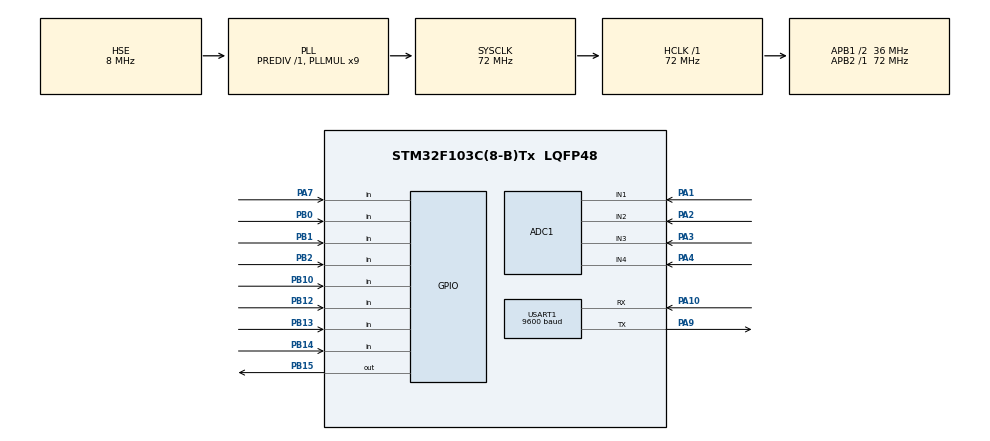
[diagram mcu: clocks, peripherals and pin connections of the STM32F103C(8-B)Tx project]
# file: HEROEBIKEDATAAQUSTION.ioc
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ADC1.Channel-0\#ChannelRegularConversion=ADC_CHANNEL_1
ADC1.Channel-4\#ChannelRegularConversion=ADC_CHANNEL_2
ADC1.Channel-5\#ChannelRegularConversion=ADC_CHANNEL_3
ADC1.Channel-6\#ChannelRegularConversion=ADC_CHANNEL_4
ADC1.ContinuousConvMode=ENABLE
ADC1.NbrOfConversion=4
ADC1.NbrOfConversionFlag=1
ADC1.Rank-4\#ChannelRegularConversion=2
ADC1.Rank-5\#ChannelRegularConversion=3
ADC1.Rank-6\#ChannelRegularConversion=4
ADC1.SamplingTime-4\#ChannelRegularConversion=ADC_SAMPLETIME_1CYCLE_5
ADC1.SamplingTime-5\#ChannelRegularConversion=ADC_SAMPLETIME_1CYCLE_5
ADC1.SamplingTime-6\#ChannelRegularConversion=ADC_SAMPLETIME_1CYCLE_5
ADC1.master=1
Mcu.Family=STM32F1
Mcu.Name=STM32F103C(8-B)Tx
Mcu.Package=LQFP48
NVIC.ADC1_2_IRQn=true\:0\:0\:false\:false\:true\:true\:true\:true
NVIC.PriorityGroup=NVIC_PRIORITYGROUP_4
PA1.Signal=ADCx_IN1
PA10.Mode=Asynchronous
PA10.Signal=USART1_RX
PA13.Mode=Serial_Wire
PA13.Signal=SYS_JTMS-SWDIO
PA14.Mode=Serial_Wire
PA14.Signal=SYS_JTCK-SWCLK
PA2.Signal=ADCx_IN2
PA3.Signal=ADCx_IN3
PA4.Signal=ADCx_IN4
PA7.Signal=GPIO_Input
PA9.Mode=Asynchronous
PA9.Signal=USART1_TX
PB0.Signal=GPIO_Input
PB1.Signal=GPIO_Input
PB10.Signal=GPIO_Input
PB12.Signal=GPIO_Input
PB13.Signal=GPIO_Input
PB14.Signal=GPIO_Input
PB15.Signal=GPIO_Output
PB2.Signal=GPIO_Input
PD0-OSC_IN.Mode=HSE-External-Oscillator
PD0-OSC_IN.Signal=RCC_OSC_IN
PD1-OSC_OUT.Mode=HSE-External-Oscillator
PD1-OSC_OUT.Signal=RCC_OSC_OUT
ProjectManager.HeapSize=0x200
ProjectManager.StackSize=0x400
ProjectManager.TargetToolchain=STM32CubeIDE
RCC.ADCPresc=RCC_ADCPCLK2_DIV6
RCC.AHBFreq_Value=72000000
RCC.APB1CLKDivider=RCC_HCLK_DIV2
RCC.APB1Freq_Value=36000000
RCC.APB1TimFreq_Value=72000000
RCC.APB2Freq_Value=72000000
RCC.APB2TimFreq_Value=72000000
RCC.HCLKFreq_Value=72000000
RCC.PLLMUL=RCC_PLL_MUL9
RCC.PLLSourceVirtual=RCC_PLLSOURCE_HSE
RCC.SYSCLKFreq_VALUE=72000000
RCC.SYSCLKSource=RCC_SYSCLKSOURCE_PLLCLK
RCC.USBFreq_Value=72000000
SH.ADCx_IN1.0=ADC1_IN1,IN1
SH.ADCx_IN2.0=ADC1_IN2,IN2
SH.ADCx_IN3.0=ADC1_IN3,IN3
SH.ADCx_IN4.0=ADC1_IN4,IN4
USART1.BaudRate=9600
USART1.VirtualMode=VM_ASYNC
board=custom

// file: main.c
/* USER CODE BEGIN Header */
/**
  ******************************************************************************
  * @file           : main.c
  * @brief          : Main program body
  ******************************************************************************
  * @attention
  *
  * Copyright (c) 2023 STMicroelectronics.
  * All rights reserved.
  *
  * This software is licensed under terms that can be found in the LICENSE file
  * in the root directory of this software component.
  * If no LICENSE file comes with this software, it is provided AS-IS.
  *
  ******************************************************************************
  */
/* USER CODE END Header */
#include "main.h"
#include <string.h>
#include <math.h>
#include <stdio.h>
#define BAUD_RATE 9600

ADC_HandleTypeDef hadc1;

UART_HandleTypeDef huart1;

/* USER CODE BEGIN PV */
//uint8_t data[2000];
float raw;
float Iraw;
float Sraw;
float Traw;
float km;
float contemp;
float I;
float b = 3977;
				  	float rto = 1000;
				  							float vcc = 5;
				  							float R = 1000;
				  							float T0 = 15+273.15;
				  							float VRT,VR,RT,ln,TX;

				  							const float SHUNT_CURRENT =100.00;//A
				  							const float SHUNT_VOLTAGE =75.0;// mV
				  							const float CORRECTION_FACTOR = 2.00;

				  							const int ITERATION = 30; //can change (see video)
				  							const float VOLTAGE_REFERENCE = 1200.0;//1.1V
				  							const int BIT_RESOLUTION =12;
				  							float vac;
				  				     		float vc;
				  						    float rphr;
				  						    float rpm;
				  						    int i;
				  						    int j;
				  						    int k;
				  						    int l;
				  						    int m;
				  						    int n;
				  						    int o;
/* USER CODE END PV */

void SystemClock_Config(void);
static void MX_GPIO_Init(void);
static void MX_ADC1_Init(void);

static void MX_USART1_UART_Init(void);
/* USER CODE BEGIN PFP */

void ADC_Select_CH0(void){
	ADC_ChannelConfTypeDef sConfig = {0};
	sConfig.Channel = ADC_CHANNEL_1;
	  sConfig.Rank = ADC_REGULAR_RANK_1;
	  sConfig.SamplingTime = ADC_SAMPLETIME_7CYCLES_5;
	  if (HAL_ADC_ConfigChannel(&hadc1, &sConfig) != HAL_OK)
	  {
	    Error_Handler();
	  }

}
void ADC_Select_CH1(void){
	ADC_ChannelConfTypeDef sConfig = {0};
	sConfig.Channel = ADC_CHANNEL_2;
	  sConfig.Rank = ADC_REGULAR_RANK_1;
	  sConfig.SamplingTime = ADC_SAMPLETIME_7CYCLES_5;
	  if (HAL_ADC_ConfigChannel(&hadc1, &sConfig) != HAL_OK)
	  {
	    Error_Handler();
	  }

}
void ADC_Select_CH2(void){
	ADC_ChannelConfTypeDef sConfig = {0};
	sConfig.Channel = ADC_CHANNEL_3;
	  sConfig.Rank = ADC_REGULAR_RANK_1;
	  sConfig.SamplingTime = ADC_SAMPLETIME_7CYCLES_5;
	  if (HAL_ADC_ConfigChannel(&hadc1, &sConfig) != HAL_OK)
	  {
	    Error_Handler();
	  }

}
void ADC_Select_CH3(void){
	ADC_ChannelConfTypeDef sConfig = {0};
	sConfig.Channel = ADC_CHANNEL_4;
	  sConfig.Rank = ADC_REGULAR_RANK_1;
	  sConfig.SamplingTime = ADC_SAMPLETIME_7CYCLES_5;
	  if (HAL_ADC_ConfigChannel(&hadc1, &sConfig) != HAL_OK)
	  {
	    Error_Handler();
	  }

}
uint16_t ADC_VAL[4];
void initUART(void)
{
  huart1.Instance = USART1;
  huart1.Init.BaudRate = BAUD_RATE;
  huart1.Init.WordLength = UART_WORDLENGTH_8B;
  huart1.Init.StopBits = UART_STOPBITS_1;
  huart1.Init.Parity = UART_PARITY_NONE;
  huart1.Init.Mode = UART_MODE_TX_RX;
  huart1.Init.HwFlowCtl = UART_HWCONTROL_NONE;
  huart1.Init.OverSampling = UART_OVERSAMPLING_16;
  HAL_UART_Init(&huart1);
}
/* USER CODE END PFP */

int main(void)
{
  /* USER CODE BEGIN 1 */

				  //char msg[10];
				  char uart_buf[100];
				  	int uart_buf_len;
				  	//const int resistorValue = 10000;

  /* USER CODE END 1 */

  /* MCU Configuration--------------------------------------------------------*/

  /* Reset of all peripherals, Initializes the Flash interface and the Systick. */
  HAL_Init();

  /* Configure the system clock */
  SystemClock_Config();

  /* Initialize all configured peripherals */
  MX_GPIO_Init();
  MX_ADC1_Init();
  MX_USART1_UART_Init();

  /* Infinite loop */
  while (1)
  {
	  ADC_Select_CH0();
	  HAL_ADC_Start(&hadc1);
	  HAL_ADC_PollForConversion(&hadc1, 1000);
	  raw = HAL_ADC_GetValue(&hadc1);
	  float vin;
	  	 	  float r1,r2,r3,r4;
	  	 	  vin = (raw*3.3)/4095;

	  	 	  	   	 		 	  	   r1=68;
	  	 	  	   	 		 	  	   r2=3.3;
	  	 	  	   	 		 	  	   vac=((r2+r1)/r2)*vin;
	  	 	  	   	 		 	//data[1] = vac;

	  HAL_ADC_Stop(&hadc1);
	 // HAL_Delay(500);
	  ADC_Select_CH1();
	  HAL_ADC_Start(&hadc1);
	  HAL_ADC_PollForConversion(&hadc1, 1000);
	  Iraw = HAL_ADC_GetValue(&hadc1);

	  	 	  	    int sensorValue ;
	  	 	  	    float voltage, current;

	  	 	  	      sensorValue =  Iraw ;

	  	 	  	        voltage = (sensorValue +0.5) * (VOLTAGE_REFERENCE /  (pow(2,BIT_RESOLUTION)-1));
	  	 	  	        current  = voltage * (SHUNT_CURRENT /SHUNT_VOLTAGE )  ;

	  	 	  	   //IGNORE_CURRENT_BELOW
	  	 	  	    I=current;
	  	 	  	//data[2] = I;
	  	 	  	HAL_ADC_Stop(&hadc1);
	  //HAL_Delay(500);
	  ADC_Select_CH2();
	  HAL_ADC_Start(&hadc1);
	  HAL_ADC_PollForConversion(&hadc1, 1000);
	  Sraw = HAL_ADC_GetValue(&hadc1);
	  vin =(Sraw*3.3)/4095;
	  	 	  		   	 		 	  	   r3=51;
	  	 	  		   	 		 	  	   r4=4.7;
	  	 	  		   	 		 	  	   vc=((r4+r3)/r4)*vin;
	  	 	  		   	 		 	  	   rpm = (vc/39)*652;
	  	 	  		   	 		 	  	   rphr = rpm*60;
	  	 	  		   	 		 	  	   km=0.001356*rphr;
	  	 	  		   	 		 	//data[3] = km;
	  HAL_ADC_Stop(&hadc1);
	  //HAL_Delay(500);
	  ADC_Select_CH3();
	  HAL_ADC_Start(&hadc1);
	  HAL_ADC_PollForConversion(&hadc1, 1000);
	  Traw = HAL_ADC_GetValue(&hadc1);
	  VRT = (3.33 / 1024) *Traw;      //Conversion to voltage
	  	 		  	 	 	  		  		   	 		 	  	 	 	  VR = vcc - VRT;
	  	 		  	 	 	  		  		   	 		 	  	 	 	  RT = VRT / (VR / R);               //Resistance of RT

	  	 		  	 	 	  		  		   	 		 	  	 	 	  ln = log(RT / rto);
	  	 		  	 	 	  		  		   	 		 	  	 	 	  TX = (1 / ((ln / b) + (1 / T0))); //Temperature from thermistor

	  	 		  	 	 	  		  		   	 		 	 contemp = TX - 273.15;
	  	 		  	 	 	  		  		   	//data[4] = contemp;

	  HAL_ADC_Stop(&hadc1);
	 // HAL_Delay(500);
	  if(HAL_GPIO_ReadPin (GPIOA, GPIO_PIN_7))  { //Check if button pressed

	 	  		 i = 1;

	 	  	  }//If pressed Led Switch On
	 	  	  	else{

	 	  	  	 i = 0;

	 	  	  	}
	  if(HAL_GPIO_ReadPin (GPIOB, GPIO_PIN_0))  { //Check if button pressed

	  	  		  		 j = 1;

	  	  		  	  }//If pressed Led Switch On
	  	  		  	  	else{

	  	  		  	  	 j = 0;

	  	  		  	  	}
	  if(HAL_GPIO_ReadPin (GPIOB, GPIO_PIN_1))  { //Check if button pressed

		  		  		  	 k = 1;

		  		  		  	  }//If pressed Led Switch On
		  		  		  	  	else{

		  		  		  	 k = 0;
		  		  		  	  	}
	  if(HAL_GPIO_ReadPin (GPIOB, GPIO_PIN_2))  { //Check if button pressed

	  	  		  		 	  	l = 1;

	  	  		  		 	  	  }//If pressed Led Switch On
	  	  		  		 	  	  	else{

	  	  		  		 	  	 l = 0;

	  	  		  		 	  	  	}
	  if(HAL_GPIO_ReadPin (GPIOB, GPIO_PIN_12))  { //Check if button pressed

	  	  		  		 		  	 m = 1;

	  	  		  		 		  	  }//If pressed Led Switch On
	  	  		  		 		  	  	else{

	  	  		  		 		  	 m = 0;

	  	  		  		 		  	  	}
	  if(HAL_GPIO_ReadPin (GPIOB, GPIO_PIN_13))  { //Check if button pressed

	  	  	  		  		 		  	 n = 1;

	  	  	  		  		 		  	  }//If pressed Led Switch On
	  	  	  		  		 		  	  	else{

	  	  	  		  		 		  	 n = 0;

	  	  	  		  		 		  	  	}
	  if(HAL_GPIO_ReadPin (GPIOB, GPIO_PIN_14))  { //Check if button pressed

	  	  	  		  		 		  	 o = 1;

	  	  	  		  		 		  	  }//If pressed Led Switch On
	  	  	  		  		 		  	  	else{

	  	  	  		  		 		  	 o = 0;

	  	  	  		  		 		  	  	}

		  		  		 		// HAL_UART_Transmit (&huart1, data, sizeof (data), 1000);

	 		  	 	 	  		  		   		uart_buf_len = sprintf(uart_buf,"{\"voltage\":%d,\"current\":%d,\"speed\":%d,\"temp\":%d,\"i\":%d,\"j\":%d,\"k\":%d,\"l\":%d,\"m\":%d,\"n\":%d,\"o\":%d}",(int)vac,(int)I,(int) km,(int)contemp,(int)i,(int)j,(int)k,(int)l,(int)m,(int)n,(int)o);

	 		  	 	 	  		  		   		 HAL_UART_Transmit(&huart1, (uint8_t *)uart_buf,uart_buf_len, 1000);
	 		  	 	 	  		  		 HAL_Delay(1000);
  }
}

void SystemClock_Config(void)
{
  RCC_OscInitTypeDef RCC_OscInitStruct = {0};
  RCC_ClkInitTypeDef RCC_ClkInitStruct = {0};
  RCC_PeriphCLKInitTypeDef PeriphClkInit = {0};

  /** Initializes the RCC Oscillators according to the specified parameters
  * in the RCC_OscInitTypeDef structure.
  */
  RCC_OscInitStruct.OscillatorType = RCC_OSCILLATORTYPE_HSE;
  RCC_OscInitStruct.HSEState = RCC_HSE_ON;
  RCC_OscInitStruct.HSEPredivValue = RCC_HSE_PREDIV_DIV1;
  RCC_OscInitStruct.HSIState = RCC_HSI_ON;
  RCC_OscInitStruct.PLL.PLLState = RCC_PLL_ON;
  RCC_OscInitStruct.PLL.PLLSource = RCC_PLLSOURCE_HSE;
  RCC_OscInitStruct.PLL.PLLMUL = RCC_PLL_MUL9;
  if (HAL_RCC_OscConfig(&RCC_OscInitStruct) != HAL_OK)
  {
    Error_Handler();
  }

  /** Initializes the CPU, AHB and APB buses clocks
  */
  RCC_ClkInitStruct.ClockType = RCC_CLOCKTYPE_HCLK|RCC_CLOCKTYPE_SYSCLK
                              |RCC_CLOCKTYPE_PCLK1|RCC_CLOCKTYPE_PCLK2;
  RCC_ClkInitStruct.SYSCLKSource = RCC_SYSCLKSOURCE_PLLCLK;
  RCC_ClkInitStruct.AHBCLKDivider = RCC_SYSCLK_DIV1;
  RCC_ClkInitStruct.APB1CLKDivider = RCC_HCLK_DIV2;
  RCC_ClkInitStruct.APB2CLKDivider = RCC_HCLK_DIV1;

  if (HAL_RCC_ClockConfig(&RCC_ClkInitStruct, FLASH_LATENCY_2) != HAL_OK)
  {
    Error_Handler();
  }
  PeriphClkInit.PeriphClockSelection = RCC_PERIPHCLK_ADC;
  PeriphClkInit.AdcClockSelection = RCC_ADCPCLK2_DIV6;
  if (HAL_RCCEx_PeriphCLKConfig(&PeriphClkInit) != HAL_OK)
  {
    Error_Handler();
  }
}

static void MX_ADC1_Init(void)
{

  ADC_ChannelConfTypeDef sConfig = {0};

  /** Common config
  */
  hadc1.Instance = ADC1;
  hadc1.Init.ScanConvMode = ADC_SCAN_ENABLE;
  hadc1.Init.ContinuousConvMode = ENABLE;
  hadc1.Init.DiscontinuousConvMode = DISABLE;
  hadc1.Init.ExternalTrigConv = ADC_SOFTWARE_START;
  hadc1.Init.DataAlign = ADC_DATAALIGN_RIGHT;
  hadc1.Init.NbrOfConversion = 1;
  if (HAL_ADC_Init(&hadc1) != HAL_OK)
  {
    Error_Handler();
  }

  /** Configure Regular Channel
  */
  /*sConfig.Channel = ADC_CHANNEL_1;
  sConfig.Rank = ADC_REGULAR_RANK_1;
  sConfig.SamplingTime = ADC_SAMPLETIME_7CYCLES_5;
  if (HAL_ADC_ConfigChannel(&hadc1, &sConfig) != HAL_OK)
  {
    Error_Handler();
  }
*/
  /** Configure Regular Channel
  */
 /* sConfig.Channel = ADC_CHANNEL_2;
  sConfig.Rank = ADC_REGULAR_RANK_2;
  if (HAL_ADC_ConfigChannel(&hadc1, &sConfig) != HAL_OK)
  {
    Error_Handler();
  }*/

  /** Configure Regular Channel
  */
  //sConfig.Channel = ADC_CHANNEL_3;
  //sConfig.Rank = ADC_REGULAR_RANK_3;
  //if (HAL_ADC_ConfigChannel(&hadc1, &sConfig) != HAL_OK)
	  //{
	  //Error_Handler();
    //}

  /** Configure Regular Channel
  */
  // sConfig.Channel = ADC_CHANNEL_4;
  // sConfig.Rank = ADC_REGULAR_RANK_4;
  // if (HAL_ADC_ConfigChannel(&hadc1, &sConfig) != HAL_OK)
	  // {
	  // Error_Handler();//
 // }

}

static void MX_USART1_UART_Init(void)
{

  huart1.Instance = USART1;
  huart1.Init.BaudRate = 9600;
  huart1.Init.WordLength = UART_WORDLENGTH_8B;
  huart1.Init.StopBits = UART_STOPBITS_1;
  huart1.Init.Parity = UART_PARITY_NONE;
  huart1.Init.Mode = UART_MODE_TX_RX;
  huart1.Init.HwFlowCtl = UART_HWCONTROL_NONE;
  huart1.Init.OverSampling = UART_OVERSAMPLING_16;
  if (HAL_UART_Init(&huart1) != HAL_OK)
  {
    Error_Handler();
  }

}

static void MX_GPIO_Init(void)
{
  GPIO_InitTypeDef GPIO_InitStruct = {0};

  /* GPIO Ports Clock Enable */
  __HAL_RCC_GPIOD_CLK_ENABLE();
  __HAL_RCC_GPIOA_CLK_ENABLE();
  __HAL_RCC_GPIOB_CLK_ENABLE();

  /*Configure GPIO pin Output Level */
  HAL_GPIO_WritePin(GPIOB, GPIO_PIN_15, GPIO_PIN_RESET);

  /*Configure GPIO pin : PA7 */
  GPIO_InitStruct.Pin = GPIO_PIN_7;
  GPIO_InitStruct.Mode = GPIO_MODE_INPUT;
  GPIO_InitStruct.Pull = GPIO_NOPULL;
  HAL_GPIO_Init(GPIOA, &GPIO_InitStruct);

  /*Configure GPIO pins : PB0 PB1 PB2 PB10
                           PB12 PB13 PB14 */
  GPIO_InitStruct.Pin = GPIO_PIN_0|GPIO_PIN_1|GPIO_PIN_2|GPIO_PIN_10
                          |GPIO_PIN_12|GPIO_PIN_13|GPIO_PIN_14;
  GPIO_InitStruct.Mode = GPIO_MODE_INPUT;
  GPIO_InitStruct.Pull = GPIO_NOPULL;
  HAL_GPIO_Init(GPIOB, &GPIO_InitStruct);

  /*Configure GPIO pin : PB15 */
  GPIO_InitStruct.Pin = GPIO_PIN_15;
  GPIO_InitStruct.Mode = GPIO_MODE_OUTPUT_PP;
  GPIO_InitStruct.Pull = GPIO_NOPULL;
  GPIO_InitStruct.Speed = GPIO_SPEED_FREQ_LOW;
  HAL_GPIO_Init(GPIOB, &GPIO_InitStruct);

}

void Error_Handler(void)
{
  __disable_irq();
  while (1)
  {
  }
}
